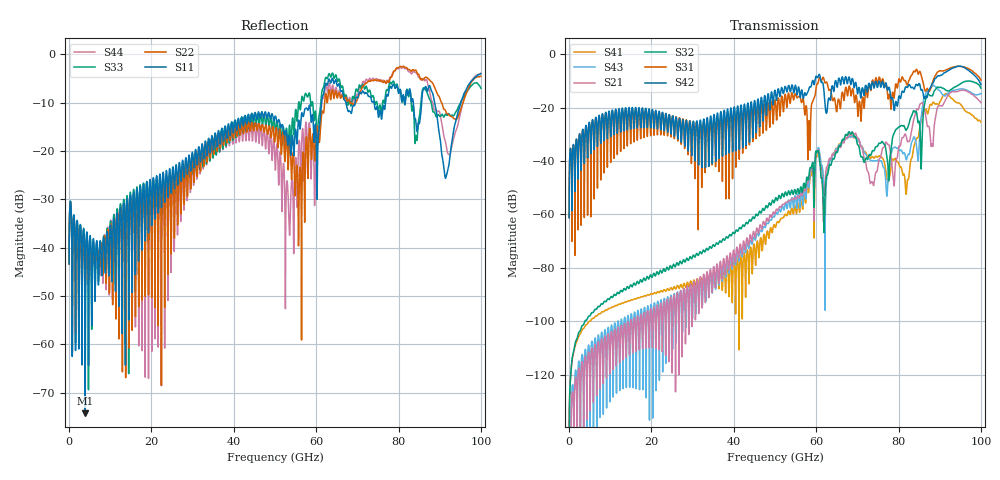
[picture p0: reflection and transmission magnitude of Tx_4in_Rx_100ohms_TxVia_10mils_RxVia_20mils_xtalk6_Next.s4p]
! Info: Touchstone file created by Circ.  Input file=Tx_4in_Rx_100ohms_TxVia_10mils_RxVia_20mils.circ
# Hz S RI R 50
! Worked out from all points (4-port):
!   10000 points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, 10 MHz to 100 GHz, reference 50 ohm
!   strongest paths, dB at 10 MHz, 25.01 GHz, 50.01 GHz, 75.01 GHz, 100 GHz:
!     S42: -61.2, -24.3, -13.5, -11.6, -11.4
!     S31: -61.2, -23.9, -17.1, -10.5, -9.6
!     S32: -144.7, -80.1, -54.4, -34.1, -12.7
!     S21: -160.3, -106.3, -59.6, -41.9, -18.1
!     S43: -146.6, -96.3, -60.4, -39.6, -14.7
!     S41: -144.8, -88.1, -64.6, -38.4, -25.4
!   lowest |S11| = -74.3 dB at 3.93 GHz (marker M1), VSWR 1.00, Z = 50 - j0.00165 ohm
!   |S11| at or under -10 dB: start of sweep to 61.29 GHz; 74.09 GHz to 76.82 GHz (2.726 GHz wide, 3.61 % of centre); 88.75 GHz to 95.09 GHz (6.342 GHz wide, 6.9 % of centre) (the widest 3 of 6)
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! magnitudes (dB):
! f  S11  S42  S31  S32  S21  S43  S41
! 10 MHz  -43.3  -61.2  -61.2  -144.7  -160.3  -146.6  -144.8
! 3.93 GHz  -74.3  -29.0  -29.3  -99.7  -113.1  -110.5  -101.6
! 38.46 GHz  -16.0  -20.6  -22.6  -68.8  -76.2  -77.8  -78.9
! 60.36 GHz  -20.7  -8.7  -11.1  -36.2  -36.2  -35.6  -36.7
! 77.11 GHz  -8.3  -11.8  -11.9  -37.9  -33.1  -52.7  -45.5
! 88.06 GHz  -7.6  -11.3  -11.5  -15.6  -33.7  -12.2  -19.0
! 100 GHz  -4.0  -11.4  -9.6  -12.7  -18.1  -14.7  -25.4
